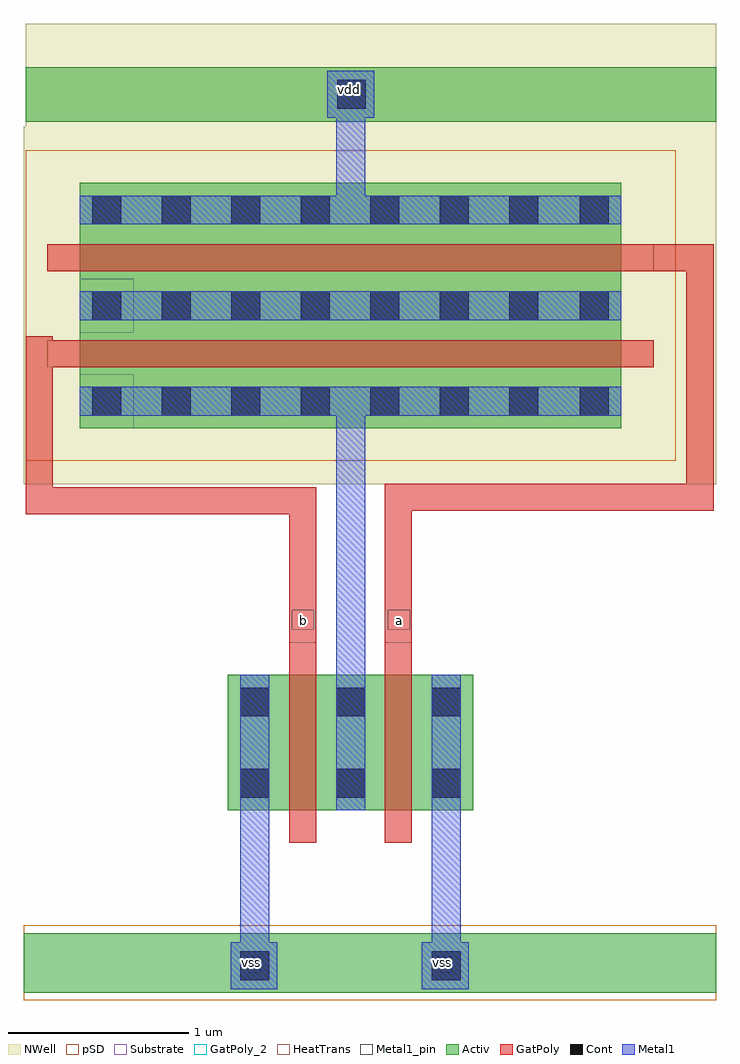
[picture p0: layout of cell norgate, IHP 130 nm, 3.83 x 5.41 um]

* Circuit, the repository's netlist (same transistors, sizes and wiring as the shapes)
* Extracted by KLayout with SG13G2 LVS runset on : 16/03/2026 17:18

.SUBCKT norgate
M$1 \$1 \$5 \$2 \$1 sg13_lv_nmos L=0.15u W=0.75u AS=0.255p AD=0.1425p PS=2.18u
+ PD=1.13u
M$2 \$2 \$6 \$1 \$1 sg13_lv_nmos L=0.15u W=0.75u AS=0.1425p AD=0.255p PS=1.13u
+ PD=2.18u
M$3 \$2 \$5 \$3 \$4 sg13_lv_pmos L=0.15u W=3u AS=1.02p AD=0.57p PS=6.68u
+ PD=3.38u
M$4 \$3 \$6 \$4 \$4 sg13_lv_pmos L=0.15u W=3u AS=0.57p AD=1.02p PS=3.38u
+ PD=6.68u
.ENDS norgate

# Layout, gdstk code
from math import pi, radians
import gdstk
lib = gdstk.Library(unit=1e-6, precision=5e-09)
def R(c, l, rs):  # rectangles x0, y0, x1, y1
    for r in rs: c.add(gdstk.rectangle(r[:2], r[2:], *l))
def A(c, l, x, y, w, h, nx, ny, dx, dy):  # array of equal rectangles
    R(c, l, [(x+i*dx, y+j*dy, x+i*dx+w, y+j*dy+h) for i in range(nx) for j in range(ny)])
Activ = (1, 0)
GatPoly = (5, 0)
GatPoly_2 = (5, 2)
Cont = (6, 0)
Metal1 = (8, 0)
Metal1_pin = (8, 2)
pSD = (14, 0)
NWell = (31, 0)
Substrate = (40, 0)
HeatTrans = (51, 0)

nmos_5 = lib.new_cell('nmos$5')
R(nmos_5, Activ, [(0,0,0.3,0.3), (0,0,0.83,0.75), (0.53,0,0.83,0.3)])
R(nmos_5, GatPoly, [(0.34,-0.18,0.49,0.93)])
R(nmos_5, GatPoly_2, [(0.34,-0.18,0.49,0.93)])
R(nmos_5, Cont, [(0.07,0.07,0.23,0.23), (0.6,0.07,0.76,0.23), (0.07,0.52,0.23,0.68), (0.6,0.52,0.76,0.68)])
R(nmos_5, Metal1, [(0.07,0,0.23,0.75), (0.6,0,0.76,0.75)])
R(nmos_5, Metal1_pin, [(0.07,0,0.23,0.75), (0.6,0,0.76,0.75)])
R(nmos_5, HeatTrans, [(0.34,-0.18,0.49,0.93)])
nmos_5.add(gdstk.Label('nmos', (0.415,0.375), layer=63, texttype=0))
nmos_5.add(gdstk.Label('nmos', (0.415,0.375), layer=51, texttype=0))

pmos_5 = lib.new_cell('pmos$5')
R(pmos_5, Activ, [(0,0,0.3,0.3), (0,0,0.83,3), (0.53,0,0.83,0.3)])
R(pmos_5, GatPoly, [(0.34,-0.18,0.49,3.18), (0.34,-0.18,0.49,3.18)])
A(pmos_5, Cont, 0.07, 0.07, 0.16, 0.16, 1, 7, 0, 0.385)
A(pmos_5, Cont, 0.6, 0.07, 0.16, 0.16, 1, 7, 0, 0.385)
R(pmos_5, Cont, [(0.07,2.77,0.23,2.93), (0.6,2.77,0.76,2.93)])
R(pmos_5, Metal1, [(0.07,0,0.23,3), (0.07,0,0.23,3), (0.6,0,0.76,3), (0.6,0,0.76,3)])
R(pmos_5, pSD, [(-0.18,-0.3,1.01,3.3)])
R(pmos_5, NWell, [(-0.31,-0.31,1.14,3.31)])
R(pmos_5, Substrate, [(0.53,0,0.83,0.3)])
R(pmos_5, HeatTrans, [(0.34,-0.18,0.49,3.18)])
pmos_5.add(gdstk.Label('pmos', (0.415,1.5), layer=63, texttype=0))
pmos_5.add(gdstk.Label('pmos', (0.415,1.5), layer=51, texttype=0))

norgate = lib.new_cell('norgate')
R(norgate, Activ, [(-1.48,-2.5,2.355,-2.17), (-1.47,2.325,2.355,2.625)])
R(norgate, GatPoly, [(-0.01,-0.56,0.14,0.15), (0.52,-0.56,0.67,0.17), (-1.47,0.15,0.14,0.3), (0.52,0.17,2.19,0.32), (2.19,0.17,2.34,1.645), (-1.47,0.3,-1.32,1.135), (-1.47,0.965,-1.35,1.135), (2.01,1.495,2.19,1.645)])
R(norgate, GatPoly_2, [(0.005,-0.49,0.13,-0.38), (0.535,-0.49,0.66,-0.38)])
R(norgate, Cont, [(-0.28,-2.43,-0.12,-2.27), (-0.28,-2.43,-0.12,-2.27), (0.78,-2.43,0.94,-2.27), (0.78,-2.43,0.94,-2.27), (0.255,2.395,0.415,2.555)])
R(norgate, Metal1, [(-0.335,-2.48,-0.075,-2.22), (0.725,-2.48,0.985,-2.22), (-0.28,-2.43,-0.12,-0.74), (0.78,-2.43,0.94,-0.74), (0.25,-0.74,0.41,0.695), (0.25,1.915,0.41,2.345), (0.2,2.345,0.46,2.605)])
R(norgate, Metal1_pin, [(-0.25,-2.39,-0.17,-2.3), (0.81,-2.39,0.89,-2.3), (0.255,2.395,0.415,2.555)])
R(norgate, pSD, [(-1.48,-2.54,2.355,-2.125)])
R(norgate, NWell, [(-1.47,0.315,2.355,2.865), (-1.47,2.295,2.355,2.865)])
norgate.add(gdstk.Reference(nmos_5, (1.01,-0.74), rotation=pi))
norgate.add(gdstk.Reference(nmos_5, (-0.35,-1.49)))
norgate.add(gdstk.Reference(pmos_5, (-1.17,1.985), rotation=3*pi/2))
norgate.add(gdstk.Reference(pmos_5, (-1.17,1.455), rotation=3*pi/2))
norgate.add(gdstk.Label('vdd', (0.325,2.5), layer=8, texttype=2))
norgate.add(gdstk.Label('vss', (-0.22,-2.335), layer=8, texttype=2))
norgate.add(gdstk.Label('vss', (0.84,-2.335), layer=8, texttype=2))
norgate.add(gdstk.Label('b', (0.07,-0.44), layer=5, texttype=2))
norgate.add(gdstk.Label('a', (0.6,-0.44), layer=5, texttype=2))

lib.write_gds('norgate.gds')
